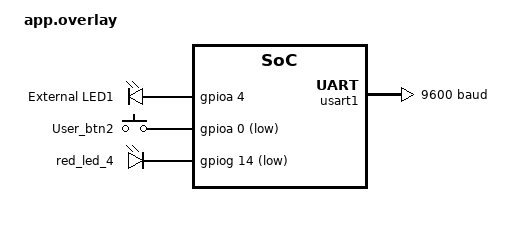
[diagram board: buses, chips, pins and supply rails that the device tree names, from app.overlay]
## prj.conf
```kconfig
# CONFIG_STM32_BOARD=y
# CONFIG_STM32_PICSIMLAB=n

CONFIG_GPIO=y

# Debug Configuration
CONFIG_DEBUG=y
CONFIG_DEBUG_OPTIMIZATIONS=y
CONFIG_SYMTAB=n
CONFIG_CORTEX_M_DWT=n

# Console for debug output
CONFIG_CONSOLE=y
CONFIG_UART_CONSOLE=y
CONFIG_SERIAL=y
CONFIG_PRINTK=y

# Optional: Enable debug thread info
CONFIG_DEBUG_THREAD_INFO=y
CONFIG_THREAD_MONITOR=y
CONFIG_THREAD_NAME=y

# Enable time slicing for threads
CONFIG_TIMESLICING=n

# Set the time slice duration (in milliseconds)
CONFIG_TIMESLICE_SIZE=10

# Time slice priority threshold
CONFIG_TIMESLICE_PRIORITY=1

# Set maximum number of preempt priorities
CONFIG_NUM_PREEMPT_PRIORITIES=127

# Set cooperative thread priorities
CONFIG_NUM_COOP_PRIORITIES=128
```

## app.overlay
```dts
&usart1 {
    current-speed = <9600>;
};
&red_led_4 {
    gpios = <&gpiog 14 GPIO_ACTIVE_LOW>;
};
/ {
    aliases {
        led1 = &red_led_4;
        led2 = &custom_led1;
    };

    leds {
        compatible = "gpio-leds";        

        custom_led1: custom_led1 {
            label = "External LED1";
            gpios = <&gpioa 4 0>;
        };        
    };

	gpio_keys {
		compatible = "gpio-keys";

		button2: button2{
			label = "User_btn2";
			gpios = <&gpioa 0 GPIO_ACTIVE_LOW>;
			zephyr,code = <INPUT_KEY_0>;
		};
	};    

};
```

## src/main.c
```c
#include "main.h"

K_MSGQ_DEFINE(button_evt, BUTTON_STATE_MSG_SIZE, BUTTON_STATE_MAX_MSGS, sizeof(button_state_t));
const struct gpio_dt_spec button = GPIO_DT_SPEC_GET(BUTTON_NODE, gpios);
const struct gpio_dt_spec led_green = GPIO_DT_SPEC_GET(LEDG_NODE, gpios);
const struct gpio_dt_spec led_red = GPIO_DT_SPEC_GET(LEDR_NODE, gpios);

volatile button_state_t btn_evt_detected = {0};
volatile uint8_t led_state = 0;
volatile uint8_t reset_requested = 0;

int main(void)
{
    /* Configure the GPIO pins with direction and initial values */
    gpio_pin_configure(button.port, button.pin, GPIO_INPUT);
    gpio_pin_interrupt_configure(button.port, button.pin, GPIO_INT_EDGE_BOTH);

    /* Configure ISR for button press */
    gpio_init_callback(&button_pressed_callback, button_pressed_isr, BIT(button.pin));
    gpio_add_callback(button.port, &button_pressed_callback);

    /* Configure GPIO pins for LEDs */
    gpio_pin_configure(led_green.port, led_green.pin, GPIO_OUTPUT_INACTIVE);
    gpio_pin_configure(led_red.port, led_red.pin, GPIO_OUTPUT_INACTIVE);


    printk("Set up button at %s pin %d\n", button.port->name, button.pin);
    uint32_t pressed_timestamp = 0;
    uint32_t released_timestamp = 0;
    uint32_t first_time = 0;

    while (1)
    {
        if(k_msgq_get(&button_evt, &btn_evt_detected, K_NO_WAIT) == 0)
        {
            if(btn_evt_detected.state == 1)
            {
                pressed_timestamp = btn_evt_detected.timestamp;
            }
            else
            {
                released_timestamp = btn_evt_detected.timestamp;
            }

            if(abs(released_timestamp - pressed_timestamp) > BUTTON_DEBOUNCE_TIME_MS)
            {
                led_state = btn_evt_detected.state;
                gpio_pin_set(led_green.port, led_green.pin, led_state);
                if(abs(released_timestamp - pressed_timestamp) > (5 * BUTTON_DEBOUNCE_TIME_MS))
                {
                    if(first_time == 0)
                    {
                        first_time = 1;
                    }
                    else
                    {
                        printk("Long press detected! Resetting MCU...\n\n");
                        reset_requested = 1;
                        gpio_pin_set(led_red.port, led_red.pin, reset_requested);
                        __NVIC_SystemReset();
                    }
                }
                else
                {
                    printk("Short press detected\n");
                }
            } 
        }
    }
    return 0;
}

void button_pressed_isr(const struct device *udev, struct gpio_callback *cb, uint32_t pins)
{
    static button_state_t btn_event = {0};
    gpio_pin_set(led_red.port, led_red.pin, 1);
    btn_event.timestamp = k_uptime_get_32();
    btn_event.state = gpio_pin_get(button.port, button.pin);
    k_msgq_put(&button_evt, &btn_event, K_NO_WAIT);
    gpio_pin_set(led_red.port, led_red.pin, 0);
}
```

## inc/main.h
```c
#include <zephyr/kernel.h>
#include <zephyr/sys/printk.h>
#include <zephyr/drivers/gpio.h>
#include <stdlib.h>

#define BUTTON_NODE DT_NODELABEL(button2)
#define LEDG_NODE DT_NODELABEL(green_led_3)
#define LEDR_NODE DT_NODELABEL(red_led_4)
#define BUTTON_DEBOUNCE_TIME_MS             (500)  // Easy to adjust

typedef struct
{
    uint32_t timestamp;
    uint8_t state;
}button_state_t;

#define BUTTON_STATE_MSG_SIZE       sizeof(button_state_t)
#define BUTTON_STATE_MAX_MSGS       (10)

struct gpio_callback button_pressed_callback = {0};
extern struct k_msgq button_evt;



void button_pressed_isr(const struct device *udev, struct gpio_callback * cb, uint32_t pins);
```
